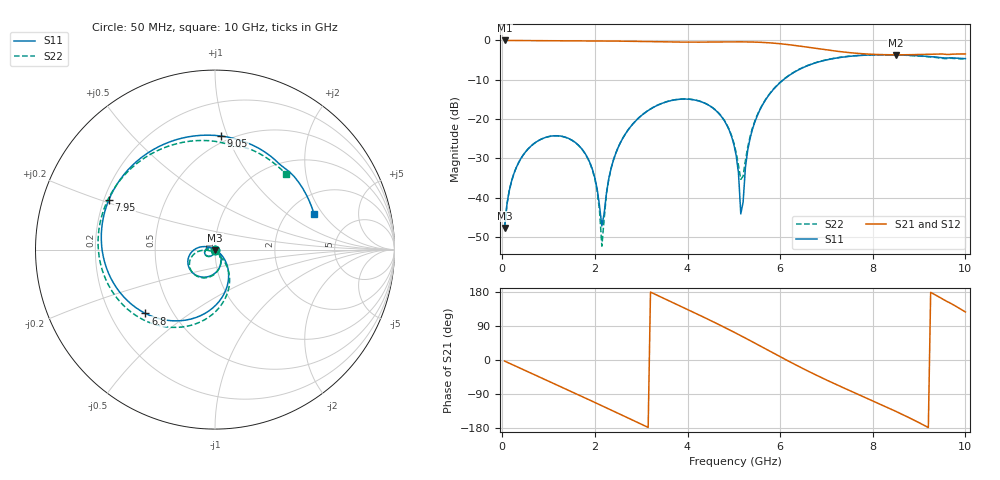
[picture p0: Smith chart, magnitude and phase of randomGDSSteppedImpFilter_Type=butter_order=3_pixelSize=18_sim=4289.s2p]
! freq	dB(S11)	phase(S11)	dB(S12)	phase(S12)
!  dB(S21)	phase(S21)	dB(S22)	phase(S22)
!S-par simulation data
#  GHz  S  DB  R 50
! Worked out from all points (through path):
!   200 points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, 50 MHz to 10 GHz, reference 50 ohm
!   highest |S21| = -0.01 dB at 50 MHz (marker M1); lowest = -3.7 dB at 8.5 GHz (marker M2)
!   group delay of S21, straight-line fit = 165 ps
!   lowest |S11| = -47.8 dB at 50 MHz (marker M3), VSWR 1.01, Z = 50 - j0.409 ohm
!   |S11| at or under -10 dB: start of sweep to 6.071 GHz
!   |S22| runs from -52.4 to -3.6 dB; largest |S21 - S12| = 0
!   S11 on the Smith chart (normalised r, x): 50 MHz: 1.00, -0.01; 6.8 GHz: 0.35, -0.35; 7.95 GHz: 0.22, +0.21; 9.05 GHz: 0.45, +0.95; 10 GHz: 2.73, +1.65
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0.05  -47.77 -88.1  -0.01 -2.9  -0.01 -2.9  -47.76 -87.9
0.25  -33.93 -103.7  -0.02 -14.1  -0.02 -14.1  -33.93 -103.0
0.6  -27.11 -124.7  -0.05 -33.6  -0.05 -33.6  -27.11 -123.1
1.75  -28.12 165.7  -0.12 -98.0  -0.12 -98.0  -28.17 174.5
2  -35.07 143.7  -0.13 -112.1  -0.13 -112.1  -35.32 164.4
2.15  -47.24 71.5  -0.14 -120.6  -0.14 -120.6  -52.38 -138.1
2.3  -35.18 -26.9  -0.15 -129.2  -0.15 -129.2  -35.24 -45.3
2.5  -27.31 -46.7  -0.17 -140.6  -0.17 -140.6  -27.28 -52.6
3.4  -16.25 -103.2  -0.35 167.7  -0.35 167.7  -16.23 -100.7
4.5  -16.81 -168.3  -0.42 104.1  -0.42 104.1  -16.77 -159.5
5.05  -29.29 157.1  -0.36 70.5  -0.36 70.5  -28.54 -172.6
5.15  -44.18 148.5  -0.36 64.2  -0.36 64.2  -35.36 -133.0
5.3  -27.94 -38.4  -0.38 54.6  -0.38 54.6  -27.15 -54.8
5.55  -18.00 -55.3  -0.46 38.3  -0.46 38.3  -17.86 -56.3
6.1  -9.73 -92.4  -0.97 2.2  -0.97 2.2  -9.67 -86.6
6.7  -5.96 -131.2  -1.91 -35.2  -1.91 -35.2  -5.91 -121.6
6.8  -5.58 -137.4  -2.08 -41.1  -2.08 -41.1  -5.53 -127.2
7.95  -3.70 154.9  -3.51 -105.0  -3.51 -105.0  -3.67 172.6
8.35  -3.65 131.3  -3.66 -127.1  -3.66 -127.1  -3.64 151.9
8.5  -3.68 122.1  -3.67 -135.6  -3.67 -135.6  -3.68 143.8
9.05  -3.96 86.9  -3.57 -168.6  -3.57 -168.6  -4.01 112.4
10  -4.63 19.8  -3.45 126.7  -3.45 126.7  -4.77 46.9
